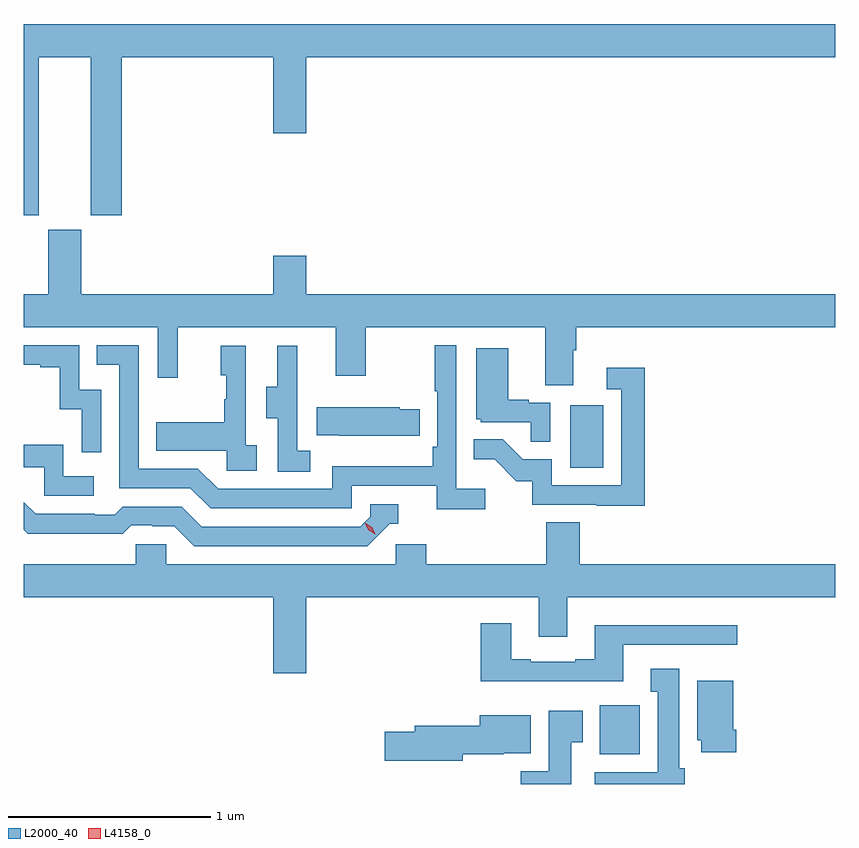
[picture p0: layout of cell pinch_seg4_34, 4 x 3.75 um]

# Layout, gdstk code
import gdstk
lib = gdstk.Library(unit=1e-6, precision=1e-09)
def R(c, l, rs):  # rectangles x0, y0, x1, y1
    for r in rs: c.add(gdstk.rectangle(r[:2], r[2:], *l))
def P(c, l, *ps):  # polygons
    for p in ps: c.add(gdstk.Polygon(p, *l))
L2000_40 = (2000, 40)
L4158_0 = (4158, 0)

pinch_seg4_34 = lib.new_cell('pinch_seg4_34')
R(pinch_seg4_34, L2000_40, [(1137.647,814.694,1137.844,814.936), (1137.5,816.108,1137.664,816.415)])
P(pinch_seg4_34, L2000_40, [(1134.88,818.132),(1135.136,818.132),(1135.136,817.353),(1135.289,817.353),(1135.289,818.132),(1136.036,818.132),(1136.036,817.758),(1136.2,817.758),(1136.2,818.132),(1138.807,818.132),(1138.807,818.296),(1134.807,818.296),(1134.807,817.353),(1134.88,817.353)],
  [(1137.517,816.688),(1137.53,816.688),(1137.53,816.8),(1138.807,816.8),(1138.807,816.964),(1136.2,816.964),(1136.2,817.153),(1136.036,817.153),(1136.036,816.964),(1135.09,816.964),(1135.09,817.281),(1134.926,817.281),(1134.926,816.964),(1134.807,816.964),(1134.807,816.8),(1135.467,816.8),(1135.467,816.552),(1135.565,816.552),(1135.565,816.8),(1136.345,816.8),(1136.345,816.561),(1136.493,816.561),(1136.493,816.8),(1137.377,816.8),(1137.377,816.514),(1137.517,816.514)],
  [(1137.082,816.004),(1136.94,816.004),(1136.94,816.712),(1136.832,816.712),(1136.832,816.484),(1136.844,816.484),(1136.844,816.211),(1136.824,816.211),(1136.824,816.115),(1136.328,816.115),(1136.328,816.003),(1135.764,816.003),(1135.665,816.102),(1135.374,816.102),(1135.374,816.711),(1135.165,816.711),(1135.165,816.615),(1135.278,816.615),(1135.278,816.006),(1135.628,816.006),(1135.727,815.907),(1136.424,815.907),(1136.424,816.018),(1136.843,816.018),(1136.843,815.902),(1137.082,815.902)],
  [(1135.188,816.492),(1135.08,816.492),(1135.08,816.711),(1134.807,816.711),(1134.807,816.615),(1134.887,816.615),(1134.887,816.603),(1134.983,816.603),(1134.983,816.395),(1135.092,816.395),(1135.092,816.183),(1135.188,816.183)],
  [(1135.954,816.218),(1135.902,816.218),(1135.902,816.709),(1135.778,816.709),(1135.778,816.564),(1135.804,816.564),(1135.804,816.446),(1135.794,816.446),(1135.794,816.331),(1135.459,816.331),(1135.459,816.191),(1135.806,816.191),(1135.806,816.093),(1135.954,816.093)],
  [(1136.218,816.191),(1136.154,816.191),(1136.154,816.495),(1136.156,816.495),(1136.156,816.709),(1136.057,816.709),(1136.057,816.507),(1136.003,816.507),(1136.003,816.352),(1136.058,816.352),(1136.058,816.088),(1136.218,816.088)],
  [(1137.402,816.429),(1137.296,816.429),(1137.296,816.442),(1137.196,816.442),(1137.196,816.697),(1137.038,816.697),(1137.038,816.348),(1137.06,816.348),(1137.06,816.333),(1137.307,816.333),(1137.307,816.235),(1137.402,816.235)],
  [(1137.869,816.601),(1137.681,816.601),(1137.681,816.495),(1137.753,816.495),(1137.753,816.021),(1137.411,816.021),(1137.411,816.15),(1137.267,816.15),(1137.169,816.248),(1137.025,816.248),(1137.025,816.149),(1137.129,816.149),(1137.236,816.042),(1137.313,816.042),(1137.313,815.925),(1137.631,815.925),(1137.631,815.92),(1137.869,815.92)],
  [(1136.759,816.396),(1136.661,816.396),(1136.661,816.406),(1136.251,816.406),(1136.251,816.269),(1136.359,816.269),(1136.359,816.266),(1136.759,816.266)],
  [(1135.15,816.066),(1135.002,816.066),(1135.002,816.22),(1134.807,816.22),(1134.807,816.111),(1134.906,816.111),(1134.906,815.97),(1135.15,815.97)],
  [(1136.61,815.832),(1136.653,815.832),(1136.653,815.928),(1136.514,815.928),(1136.514,815.865),(1136.466,815.817),(1135.683,815.817),(1135.584,815.916),(1135.295,815.916),(1135.256,815.877),(1135.157,815.877),(1135.157,815.88),(1134.864,815.88),(1134.807,815.937),(1134.807,815.802),(1134.826,815.783),(1135.062,815.783),(1135.062,815.781),(1135.295,815.781),(1135.337,815.823),(1135.44,815.823),(1135.44,815.82),(1135.547,815.82),(1135.646,815.721),(1136.499,815.721)],
  [(1136.2,815.468),(1137.347,815.468),(1137.347,815.274),(1137.487,815.274),(1137.487,815.468),(1138.807,815.468),(1138.807,815.632),(1137.548,815.632),(1137.548,815.84),(1137.383,815.84),(1137.383,815.632),(1136.792,815.632),(1136.792,815.73),(1136.64,815.73),(1136.64,815.632),(1135.509,815.632),(1135.509,815.73),(1135.359,815.73),(1135.359,815.632),(1134.807,815.632),(1134.807,815.468),(1136.036,815.468),(1136.036,815.094),(1136.2,815.094)],
  [(1137.763,815.235),(1138.324,815.235),(1138.324,815.332),(1137.623,815.332),(1137.623,815.164),(1137.527,815.164),(1137.527,815.151),(1137.307,815.151),(1137.307,815.164),(1137.211,815.164),(1137.211,815.341),(1137.059,815.341),(1137.059,815.054),(1137.763,815.054)],
  [(1138.066,814.626),(1138.039,814.626),(1138.039,815.116),(1137.899,815.116),(1137.899,815.003),(1137.932,815.003),(1137.932,814.606),(1137.623,814.606),(1137.623,814.548),(1138.066,814.548)],
  [(1138.319,814.816),(1138.306,814.816),(1138.306,815.056),(1138.127,815.056),(1138.127,814.764),(1138.148,814.764),(1138.148,814.704),(1138.319,814.704)],
  [(1137.505,814.753),(1137.562,814.753),(1137.562,814.909),(1137.395,814.909),(1137.395,814.612),(1137.256,814.612),(1137.256,814.548),(1137.505,814.548)],
  [(1136.97,814.694),(1137.174,814.694),(1137.174,814.7),(1137.307,814.7),(1137.307,814.888),(1137.056,814.888),(1137.056,814.835),(1136.735,814.835),(1136.735,814.805),(1136.586,814.805),(1136.586,814.663),(1136.97,814.663)])
P(pinch_seg4_34, L4158_0, [(1136.539,815.78),(1136.508,815.8),(1136.491,815.832),(1136.491,815.833),(1136.492,815.833),(1136.523,815.813),(1136.539,815.781),(1136.539,815.78)])

lib.write_gds('pinch_seg4_34.gds')
